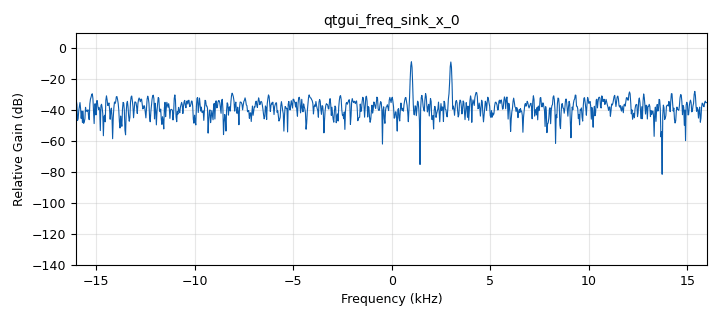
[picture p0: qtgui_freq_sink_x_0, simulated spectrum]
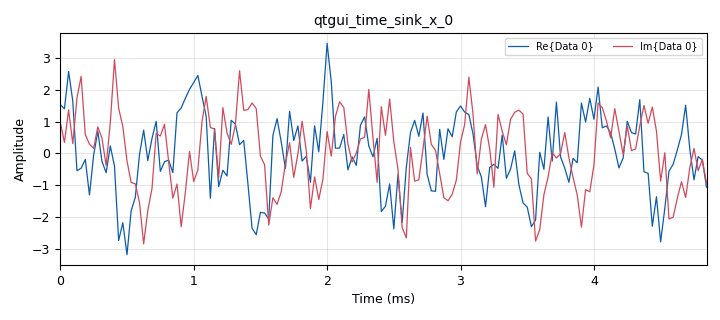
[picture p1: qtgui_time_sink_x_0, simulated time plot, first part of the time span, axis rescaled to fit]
options:
  parameters:
    generate_options: qt_gui
    id: gnuradiop1
    output_language: python
    title: My_function
  states: {}

blocks:
- name: samp_rate
  id: variable
  parameters:
    value: '32000'
  states: {}
- name: analog_noise_source_x_0
  id: analog_noise_source_x
  parameters:
    amp: '1'
    noise_type: analog.GR_GAUSSIAN
    seed: '0'
    type: complex
  states: {}
- name: analog_sig_source_x_0
  id: analog_sig_source_x
  parameters:
    amp: '1'
    freq: '1000'
    offset: '0'
    phase: '0'
    samp_rate: samp_rate
    type: complex
    waveform: analog.GR_COS_WAVE
  states: {}
- name: analog_sig_source_x_0_0
  id: analog_sig_source_x
  parameters:
    amp: '1'
    freq: '3000'
    offset: '0'
    phase: '0'
    samp_rate: samp_rate
    type: complex
    waveform: analog.GR_COS_WAVE
  states: {}
- name: blocks_add_xx_0
  id: blocks_add_xx
  parameters:
    type: complex
  states: {}
- name: blocks_throttle_0
  id: blocks_throttle
  parameters:
    samples_per_second: samp_rate
    type: complex
  states: {}
- name: epy_block_0
  id: epy_block
  parameters:
    _source_code: |
      """
      Embedded Python Blocks:

      Each time this file is saved, GRC will instantiate the first class it finds
      to get ports and parameters of your block. The arguments to __init__  will
      be the parameters. All of them are required to have default values!
      """

      import numpy as np
      from gnuradio import gr


      class blk(gr.sync_block):  # other base classes are basic_block, decim_block, interp_block
          """Embedded Python Block example - a simple multiply const"""

          def __init__(self, additionFlag=True):  # only default arguments here
              """arguments to this function show up as parameters in GRC"""
              gr.sync_block.__init__(
                  self,
                  name='Add or Multiply Block',   # will show up in GRC
                  in_sig=[np.complex64, np.complex64],
                  out_sig=[np.complex64]
              )
              # if an attribute with the same name as a parameter is found,
              # a callback is registered (properties work, too).
              self.additionFlag = additionFlag

          def work(self, input_items, output_items):
              """example: add or multiply based on flag"""
              if self.additionFlag:
                  output_items[0][:] = input_items[0][:] + input_items[1][:]
              else:
                  output_items[0][:] = input_items[0][:] * input_items[1][:]
              return len(output_items[0])
    additionFlag: 'True'
  states: {}
- name: qtgui_freq_sink_x_0
  id: qtgui_freq_sink_x
  parameters:
    bw: samp_rate
    fc: '0'
    fftsize: '1024'
    type: complex
  states: {}
- name: qtgui_time_sink_x_0
  id: qtgui_time_sink_x
  parameters:
    size: '1024'
    srate: samp_rate
    type: complex
  states: {}

connections:
- [analog_noise_source_x_0, '0', blocks_add_xx_0, '1']
- [analog_sig_source_x_0, '0', epy_block_0, '0']
- [analog_sig_source_x_0_0, '0', epy_block_0, '1']
- [blocks_add_xx_0, '0', blocks_throttle_0, '0']
- [blocks_throttle_0, '0', qtgui_freq_sink_x_0, '0']
- [blocks_throttle_0, '0', qtgui_time_sink_x_0, '0']
- [epy_block_0, '0', blocks_add_xx_0, '0']

metadata:
  file_format: 1
  grc_version: 3.9.8.0
